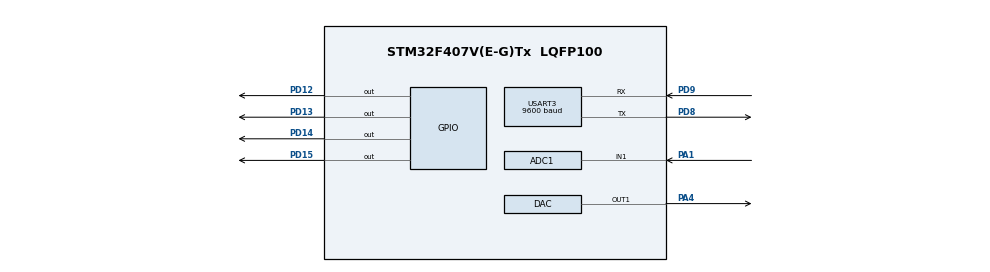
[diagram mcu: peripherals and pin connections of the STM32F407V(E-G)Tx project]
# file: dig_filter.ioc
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ADC1.Channel-3\#ChannelRegularConversion=ADC_CHANNEL_1
ADC1.DMAContinuousRequests=ENABLE
ADC1.ExternalTrigConv=ADC_EXTERNALTRIGCONV_T3_TRGO
ADC1.NbrOfConversion=1
ADC1.NbrOfConversionFlag=1
ADC1.Rank-3\#ChannelRegularConversion=1
ADC1.SamplingTime-3\#ChannelRegularConversion=ADC_SAMPLETIME_3CYCLES
ADC1.master=1
DAC.DAC_Trigger=DAC_TRIGGER_NONE
Dma.ADC1.0.Direction=DMA_PERIPH_TO_MEMORY
Dma.ADC1.0.FIFOMode=DMA_FIFOMODE_DISABLE
Dma.ADC1.0.Instance=DMA2_Stream0
Dma.ADC1.0.MemDataAlignment=DMA_MDATAALIGN_HALFWORD
Dma.ADC1.0.MemInc=DMA_MINC_ENABLE
Dma.ADC1.0.Mode=DMA_CIRCULAR
Dma.ADC1.0.PeriphDataAlignment=DMA_PDATAALIGN_HALFWORD
Dma.ADC1.0.PeriphInc=DMA_PINC_DISABLE
Dma.ADC1.0.Priority=DMA_PRIORITY_HIGH
Dma.Request0=ADC1
Dma.Request1=USART3_TX
Dma.USART3_TX.1.Direction=DMA_MEMORY_TO_PERIPH
Dma.USART3_TX.1.FIFOMode=DMA_FIFOMODE_DISABLE
Dma.USART3_TX.1.Instance=DMA1_Stream3
Dma.USART3_TX.1.MemDataAlignment=DMA_MDATAALIGN_BYTE
Dma.USART3_TX.1.MemInc=DMA_MINC_ENABLE
Dma.USART3_TX.1.Mode=DMA_NORMAL
Dma.USART3_TX.1.PeriphDataAlignment=DMA_PDATAALIGN_BYTE
Dma.USART3_TX.1.PeriphInc=DMA_PINC_DISABLE
Dma.USART3_TX.1.Priority=DMA_PRIORITY_LOW
Mcu.Family=STM32F4
Mcu.Name=STM32F407V(E-G)Tx
Mcu.Package=LQFP100
NVIC.DMA1_Stream3_IRQn=true\:0\:0\:false\:false\:true\:false
NVIC.DMA2_Stream0_IRQn=true\:0\:0\:false\:false\:true\:false
NVIC.PriorityGroup=NVIC_PRIORITYGROUP_1
NVIC.TIM3_IRQn=true\:0\:0\:false\:false\:true\:true
NVIC.USART3_IRQn=true\:0\:0\:false\:false\:true\:true
PA1.Signal=ADCx_IN1
PA13.Mode=Serial_Wire
PA13.Signal=SYS_JTMS-SWDIO
PA14.Mode=Serial_Wire
PA14.Signal=SYS_JTCK-SWCLK
PA4.Signal=COMP_DAC1_group
PD12.Signal=GPIO_Output
PD13.Signal=GPIO_Output
PD14.Signal=GPIO_Output
PD15.Signal=GPIO_Output
PD8.Mode=Asynchronous
PD8.Signal=USART3_TX
PD9.Mode=Asynchronous
PD9.Signal=USART3_RX
PH0-OSC_IN.Mode=HSE-External-Oscillator
PH0-OSC_IN.Signal=RCC_OSC_IN
PH1-OSC_OUT.Mode=HSE-External-Oscillator
PH1-OSC_OUT.Signal=RCC_OSC_OUT
ProjectManager.HeapSize=0x200
ProjectManager.StackSize=0x400
ProjectManager.TargetToolchain=MDK-ARM V5
RCC.48MHZClocksFreq_Value=84000000
RCC.AHBFreq_Value=168000000
RCC.APB1CLKDivider=RCC_HCLK_DIV4
RCC.APB1Freq_Value=42000000
RCC.APB1TimFreq_Value=84000000
RCC.APB2CLKDivider=RCC_HCLK_DIV2
RCC.APB2Freq_Value=84000000
RCC.APB2TimFreq_Value=168000000
RCC.CortexFreq_Value=168000000
RCC.HCLKFreq_Value=168000000
RCC.HSE_VALUE=8000000
RCC.HSI_VALUE=16000000
RCC.LSE_VALUE=32768
RCC.PLLM=8
RCC.PLLN=336
RCC.PLLSourceVirtual=RCC_PLLSOURCE_HSE
RCC.SYSCLKFreq_VALUE=168000000
RCC.SYSCLKSource=RCC_SYSCLKSOURCE_PLLCLK
RCC.VCOOutputFreq_Value=336000000
RCC.VDD_VALUE=3
SH.ADCx_IN1.0=ADC1_IN1,IN1
SH.COMP_DAC1_group.0=DAC_OUT1,DAC_OUT1
TIM3.Period=2100
TIM3.Prescaler=3
TIM3.TIM_MasterOutputTrigger=TIM_TRGO_UPDATE
USART3.BaudRate=9600
USART3.Mode=MODE_TX
USART3.VirtualMode=VM_ASYNC
VP_TIM3_VS_ClockSourceINT.Mode=Internal
board=custom

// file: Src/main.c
/* USER CODE BEGIN Header */
/**
  ******************************************************************************
  * @file           : main.c
  * @brief          : Main program body
  ******************************************************************************
  ** This notice applies to any and all portions of this file
  * that are not between comment pairs USER CODE BEGIN and
  * USER CODE END. Other portions of this file, whether
  * inserted by the user or by software development tools
  * are owned by their respective copyright owners.
  *
  * COPYRIGHT(c) 2019 STMicroelectronics
  *
  * Redistribution and use in source and binary forms, with or without modification,
  * are permitted provided that the following conditions are met:
  *   1. Redistributions of source code must retain the above copyright notice,
  *      this list of conditions and the following disclaimer.
  *   2. Redistributions in binary form must reproduce the above copyright notice,
  *      this list of conditions and the following disclaimer in the documentation
  *      and/or other materials provided with the distribution.
  *   3. Neither the name of STMicroelectronics nor the names of its contributors
  *      may be used to endorse or promote products derived from this software
  *      without specific prior written permission.
  *
  * THIS SOFTWARE IS PROVIDED BY THE COPYRIGHT HOLDERS AND CONTRIBUTORS "AS IS"
  * AND ANY EXPRESS OR IMPLIED WARRANTIES, INCLUDING, BUT NOT LIMITED TO, THE
  * IMPLIED WARRANTIES OF MERCHANTABILITY AND FITNESS FOR A PARTICULAR PURPOSE ARE
  * DISCLAIMED. IN NO EVENT SHALL THE COPYRIGHT HOLDER OR CONTRIBUTORS BE LIABLE
  * FOR ANY DIRECT, INDIRECT, INCIDENTAL, SPECIAL, EXEMPLARY, OR CONSEQUENTIAL
  * DAMAGES (INCLUDING, BUT NOT LIMITED TO, PROCUREMENT OF SUBSTITUTE GOODS OR
  * SERVICES; LOSS OF USE, DATA, OR PROFITS; OR BUSINESS INTERRUPTION) HOWEVER
  * CAUSED AND ON ANY THEORY OF LIABILITY, WHETHER IN CONTRACT, STRICT LIABILITY,
  * OR TORT (INCLUDING NEGLIGENCE OR OTHERWISE) ARISING IN ANY WAY OUT OF THE USE
  * OF THIS SOFTWARE, EVEN IF ADVISED OF THE POSSIBILITY OF SUCH DAMAGE.
  *
  ******************************************************************************
  */
/* USER CODE END Header */

#include "main.h"
#include "adc.h"
#include "dac.h"
#include "dma.h"
#include "tim.h"
#include "usart.h"
#include "gpio.h"

/* USER CODE BEGIN Includes */
#include "stdio.h"
/* USER CODE END Includes */

/* USER CODE BEGIN PV */

	volatile uint16_t dac_out=0;///<Последнее выданное на DAC значение
	volatile char usart_data[USART_DATA_AMOUNT]={'0','1','2','3',' ','m','V','\r'};///<Массив данных для отправки по USART

	uint16_t adc_buf0[ADC_DATA_AMOUNT];///<Буфер 0 полученных данных от ADC
	uint16_t adc_buf1[ADC_DATA_AMOUNT];///<Буфер 1 полученных данных от ADC

	uint16_t dac_buf0[DAC_DATA_AMOUNT];///<Буфер 0 данных отправленных на DAC
	uint16_t dac_buf1[DAC_DATA_AMOUNT];///<Буфер 1 данных отправленных на DAC

	void (* p_ADC_func_proc)(void)=NOP;///<Указатель на текущую функцию-обработчик массива данных от ADC
	void (* p_DAC_func_proc)(void)=NOP;///<Указатель на текущую функцию-обработчик массива данных для DAC

	uint16_t *p_adc_buf=adc_buf0;///<Указатель на массив данных от ADC нуждающийся в обработке

	volatile uint32_t dac_cur_buf_count=0;///<Счетчик текущего положения заполнения массива данных для DAC
	uint16_t *p_dac_cur_buf=dac_buf0;///<Указатель на текущий заполняемый массив данных для DAC
	uint16_t *p_dac_buf=dac_buf1;///<Указатель на массив данных для DAC нуждающийся в обработке

	///Набор возможных значений, отражающих текущий заполняемый массив
	enum dac_cur_buf_Type
	{
	DAC_BUF0, ///<Указывает, что заполняется буфер данных 0
	DAC_BUF1 ///<Указывает, что заполняется буфер данных 1
	} dac_cur_buf=DAC_BUF0;///<Определяет текущий заполняемый буфер данных для DAC

/* USER CODE END PV */

void SystemClock_Config(void);

/* USER CODE BEGIN 0 */
/**
@brief Запускает отправку массива данных по USART
@retval None
*/
void  usart_data_transmite(void)
{
	LED_ON(RED_LED);
	LL_DMA_DisableStream(DMA1,LL_DMA_STREAM_3);
	LL_DMA_SetDataLength(DMA1,LL_DMA_STREAM_3,USART_DATA_AMOUNT);
	LL_DMA_ClearFlag_TC3(DMA1);
	LL_DMA_ClearFlag_HT3(DMA1);
	LL_DMA_ClearFlag_TE3(DMA1);
	LL_DMA_EnableStream(DMA1,LL_DMA_STREAM_3);
	LL_USART_ClearFlag_TC(USART3);
	LL_USART_EnableIT_TC(USART3);
	LL_USART_EnableDirectionTx(USART3);
}

/**
@brief Расчитывает среднее значение элементов массива
@param ar Массив данных для расчета среднего значения
@param ar_num Количество элементов массива
@retval uint16_t Среднее значение элементов массива. Если количество элементов массива меньше единицы, вернет первый элемент массива
*/
uint16_t calc_ar_average(uint16_t ar[],uint16_t ar_num)
{
	uint32_t sum=0;
	ar_num=(ar_num<=0)?1:ar_num;
	for(uint16_t i=0;i<ar_num;i++) sum+=ar[i];
	return sum/ar_num;
}

/**
@brief Обрабатывает массив данных, полученных от ADC
@retval None
*/
void ADC_data_proc(void)
{
	dac_out=*(p_dac_cur_buf+dac_cur_buf_count++)=calc_ar_average(p_adc_buf,ADC_DATA_AMOUNT);

	LL_DAC_ConvertData12RightAligned(DAC,LL_DAC_CHANNEL_1,dac_out);
	LED_TOGGLE(GREEN_LED);

	if(dac_cur_buf_count==DAC_DATA_AMOUNT)
	{
		dac_cur_buf_count=0;
		p_DAC_func_proc=DAC_data_proc;
		if (dac_cur_buf==DAC_BUF0)
		{
			p_dac_cur_buf=dac_buf1;
			p_dac_buf=dac_buf0;
			dac_cur_buf=DAC_BUF1;
		}
		else
		{
			p_dac_cur_buf=dac_buf0;
			p_dac_buf=dac_buf1;
			dac_cur_buf=DAC_BUF0;
		}
	}
	p_ADC_func_proc=NOP;
}

/**
@brief Обрабатывает массив данных отправленных на DAC
@retval None
*/
void DAC_data_proc(void)
{
	uint32_t usart_num=calc_ar_average(p_dac_buf,DAC_DATA_AMOUNT);
	char str[4]={'0','0','0','0'};
	usart_num*=3000;
	usart_num/=4095;
	sprintf(str,"%04u",(uint16_t)usart_num);
	usart_data[0]=str[0];
	usart_data[1]=str[1];
	usart_data[2]=str[2];
	usart_data[3]=str[3];

	usart_data_transmite();

	p_DAC_func_proc=NOP;
}
/**
@brief Функция-заглушка, не выполняет никаких действий
@retval None
*/
void NOP(void){}

/**
@brief Запускает преобразование DAC
@retval None
*/
static inline void DAC_start(void)
{
	//настраиваем DAC
	LL_DAC_DisableTrigger(DAC,LL_DAC_CHANNEL_1);
	LL_DAC_Enable(DAC,LL_DAC_CHANNEL_1);
}

/**
@brief Подготавливает USART для передачи данных
@retval None
*/
static inline void USART_prep(void)
{
	//настройка DMA1, USART3 для передачи по USART
	LL_USART_EnableDMAReq_TX(USART3);
	LL_DMA_SetPeriphAddress(DMA1,LL_DMA_STREAM_3,(uint32_t)&(USART3->DR));
	LL_DMA_SetMemoryAddress(DMA1,LL_DMA_STREAM_3,(uint32_t)usart_data);
}
/**
@brief Запускает преобразование ADC
@retval None
*/
static inline void ADC_start(void)
{
	//настраиваем ADC
	LL_DMA_SetPeriphAddress(DMA2,LL_DMA_STREAM_0,(uint32_t)&(ADC1->DR));
	LL_DMA_SetMemoryAddress(DMA2,LL_DMA_STREAM_0,(uint32_t)adc_buf0);
	LL_DMA_SetMemory1Address(DMA2,LL_DMA_STREAM_0,(uint32_t)adc_buf1);

	LL_DMA_SetDataLength(DMA2,LL_DMA_CHANNEL_0,ADC_DATA_AMOUNT);

	LL_DMA_EnableDoubleBufferMode(DMA2,LL_DMA_STREAM_0);

	LL_DMA_ClearFlag_TC0(DMA2);
	LL_DMA_ClearFlag_HT0(DMA2);
	LL_DMA_ClearFlag_TE0(DMA2);

	LL_DMA_SetCurrentTargetMem(DMA2,LL_DMA_STREAM_0,LL_DMA_CURRENTTARGETMEM0);
	LL_DMA_EnableIT_TC(DMA2,LL_DMA_STREAM_0);
	LL_DMA_EnableStream(DMA2,LL_DMA_STREAM_0);

	LL_ADC_Enable(ADC1);

	LL_TIM_EnableCounter(TIM3);
	LL_TIM_EnableIT_UPDATE(TIM3);
}
/* USER CODE END 0 */

int main(void)
{

  /* MCU Configuration--------------------------------------------------------*/

  /* Reset of all peripherals, Initializes the Flash interface and the Systick. */

  LL_APB2_GRP1_EnableClock(LL_APB2_GRP1_PERIPH_SYSCFG);
  LL_APB1_GRP1_EnableClock(LL_APB1_GRP1_PERIPH_PWR);

  NVIC_SetPriorityGrouping(NVIC_PRIORITYGROUP_1);

  /* System interrupt init*/

  /* Configure the system clock */
  SystemClock_Config();

  /* Initialize all configured peripherals */
  MX_GPIO_Init();
  MX_DMA_Init();
  MX_DAC_Init();
  MX_ADC1_Init();
  MX_TIM3_Init();
  MX_USART3_UART_Init();
  /* USER CODE BEGIN 2 */

	//настраиваем DAC
	DAC_start();

	//настройка DMA1, USART3 для передачи по USART
	USART_prep();

	//настраиваем ADC
	ADC_start();

  /* USER CODE END 2 */

  /* Infinite loop */
  /* USER CODE BEGIN WHILE */

while (1)
  {

		(* p_ADC_func_proc)();
		(* p_DAC_func_proc)();
		/* USER CODE END WHILE */

  }
}

void SystemClock_Config(void)
{
  LL_FLASH_SetLatency(LL_FLASH_LATENCY_5);

  if(LL_FLASH_GetLatency() != LL_FLASH_LATENCY_5)
  {
  Error_Handler();
  }
  LL_PWR_SetRegulVoltageScaling(LL_PWR_REGU_VOLTAGE_SCALE1);
  LL_RCC_HSE_Enable();

   /* Wait till HSE is ready */
  while(LL_RCC_HSE_IsReady() != 1)
  {

  }
  LL_RCC_PLL_ConfigDomain_SYS(LL_RCC_PLLSOURCE_HSE, LL_RCC_PLLM_DIV_8, 336, LL_RCC_PLLP_DIV_2);
  LL_RCC_PLL_Enable();

   /* Wait till PLL is ready */
  while(LL_RCC_PLL_IsReady() != 1)
  {

  }
  LL_RCC_SetAHBPrescaler(LL_RCC_SYSCLK_DIV_1);
  LL_RCC_SetAPB1Prescaler(LL_RCC_APB1_DIV_4);
  LL_RCC_SetAPB2Prescaler(LL_RCC_APB2_DIV_2);
  LL_RCC_SetSysClkSource(LL_RCC_SYS_CLKSOURCE_PLL);

   /* Wait till System clock is ready */
  while(LL_RCC_GetSysClkSource() != LL_RCC_SYS_CLKSOURCE_STATUS_PLL)
  {

  }
  LL_Init1msTick(168000000);
  LL_SYSTICK_SetClkSource(LL_SYSTICK_CLKSOURCE_HCLK);
  LL_SetSystemCoreClock(168000000);
}

void Error_Handler(void)
{
}

/************************ (C) COPYRIGHT STMicroelectronics *****END OF FILE****/
